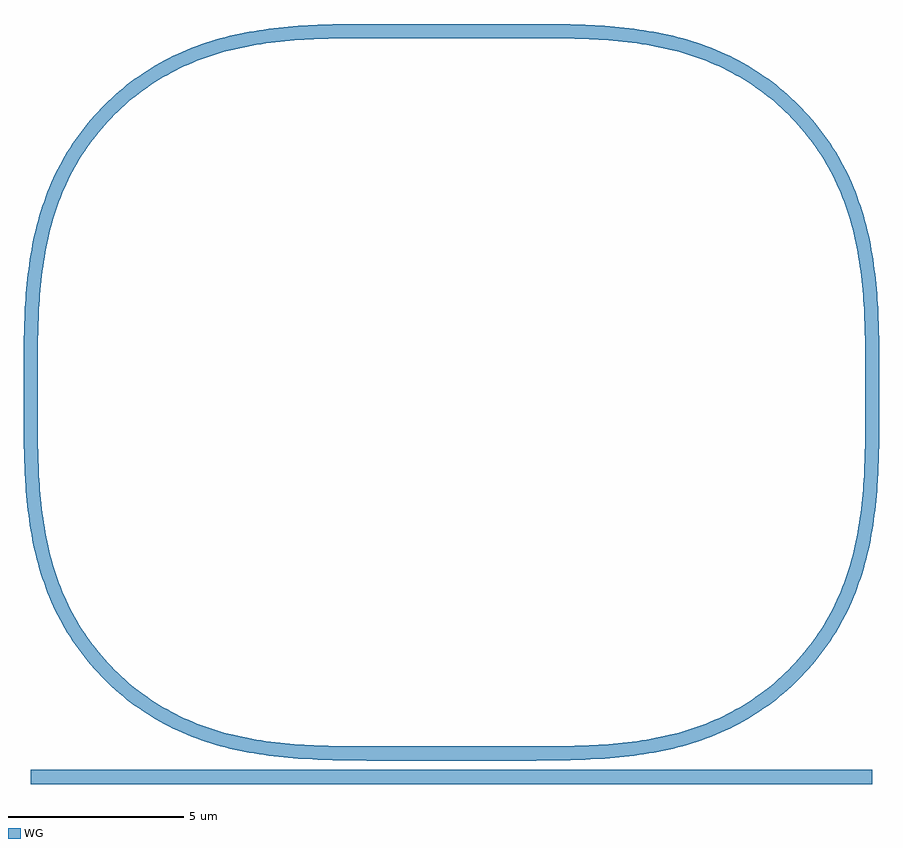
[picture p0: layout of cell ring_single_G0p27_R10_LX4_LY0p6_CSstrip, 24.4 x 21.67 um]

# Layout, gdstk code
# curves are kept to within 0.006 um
from math import pi, radians
import gdstk
lib = gdstk.Library(unit=1e-6, precision=1e-09)
def R(c, l, rs):  # rectangles x0, y0, x1, y1
    for r in rs: c.add(gdstk.rectangle(r[:2], r[2:], *l))
def P(c, l, *ps):  # polygons
    for p in ps: c.add(gdstk.Polygon(p, *l))
WG = (3, 0)

coupler_ring_lx4_g0p27_r = lib.new_cell('coupler_ring_LX4_G0p27_R10_Bbend_euler_Sstraight_CSstrip_LE10')
R(coupler_ring_lx4_g0p27_r, WG, [(-14,-0.2,10,0.2)])
P(coupler_ring_lx4_g0p27_r, WG, [(-4.416,0.47),(-5.252,0.478),(-5.81,0.495),(-6.37,0.526),(-6.93,0.576),(-7.488,0.649),(-7.906,0.722),(-8.458,0.846),(-8.868,0.962),(-9.272,1.099),(-9.798,1.317),(-10.181,1.508),(-10.552,1.72),(-10.91,1.955),(-11.254,2.209),(-11.582,2.484),(-11.993,2.879),(-12.28,3.196),(-12.548,3.529),(-12.796,3.877),(-13.023,4.24),(-13.228,4.615),(-13.411,5.002),(-13.571,5.398),(-13.749,5.938),(-13.858,6.349),(-13.974,6.903),(-14.041,7.321),(-14.108,7.88),(-14.153,8.44),(-14.185,9.139),(-14.198,9.836),(-14.2,10.67),(-13.8,10.67),(-13.798,9.84),(-13.781,9.014),(-13.745,8.328),(-13.696,7.784),(-13.604,7.108),(-13.528,6.708),(-13.402,6.18),(-13.285,5.792),(-13.148,5.411),(-12.989,5.039),(-12.809,4.677),(-12.608,4.327),(-12.387,3.988),(-12.147,3.664),(-11.887,3.354),(-11.61,3.06),(-11.214,2.694),(-10.9,2.441),(-10.57,2.207),(-10.228,1.992),(-9.873,1.798),(-9.508,1.626),(-9.133,1.474),(-8.749,1.344),(-8.227,1.201),(-7.829,1.115),(-7.427,1.045),(-6.886,0.974),(-6.342,0.925),(-5.656,0.889),(-4.415,0.87),(0.415,0.87),(1.244,0.878),(2.205,0.916),(3.022,0.989),(3.562,1.066),(4.095,1.17),(4.49,1.268),(4.878,1.385),(5.259,1.522),(5.753,1.738),(6.228,1.992),(6.57,2.207),(6.9,2.441),(7.316,2.783),(7.61,3.06),(7.976,3.456),(8.229,3.77),(8.537,4.212),(8.809,4.677),(8.932,4.917),(9.044,5.162),(9.241,5.664),(9.402,6.18),(9.5,6.575),(9.555,6.841),(9.664,7.513),(9.735,8.192),(9.781,9.014),(9.798,9.84),(9.8,10.67),(10.2,10.67),(10.198,9.836),(10.175,8.86),(10.144,8.3),(10.078,7.6),(9.998,7.042),(9.89,6.487),(9.749,5.938),(9.571,5.398),(9.353,4.872),(9.094,4.364),(8.796,3.877),(8.461,3.416),(8.186,3.088),(7.791,2.677),(7.365,2.299),(7.141,2.122),(6.91,1.955),(6.552,1.72),(6.055,1.442),(5.668,1.259),(5.272,1.099),(4.868,0.962),(4.321,0.812),(3.767,0.696),(3.209,0.61),(2.93,0.576),(2.37,0.526),(1.95,0.501),(1.252,0.478),(0.416,0.47)])

bend_euler_r10_a90_p0p5_ = lib.new_cell('bend_euler_R10_A90_P0p5_WNone_CSstrip_AMRVFalse')
P(bend_euler_r10_a90_p0p5_, WG, [(0,-0.2),(0,0.2),(0.83,0.202),(1.656,0.219),(2.342,0.255),(2.886,0.304),(3.562,0.396),(3.962,0.472),(4.49,0.598),(4.878,0.715),(5.259,0.852),(5.631,1.011),(5.993,1.191),(6.343,1.392),(6.682,1.613),(7.006,1.853),(7.316,2.113),(7.61,2.39),(7.887,2.684),(8.147,2.994),(8.387,3.318),(8.608,3.657),(8.809,4.007),(8.989,4.369),(9.148,4.741),(9.285,5.122),(9.402,5.51),(9.528,6.038),(9.604,6.438),(9.696,7.114),(9.745,7.658),(9.781,8.344),(9.798,9.17),(9.8,10),(10.2,10),(10.198,9.166),(10.185,8.469),(10.153,7.77),(10.108,7.21),(10.041,6.651),(9.974,6.233),(9.858,5.679),(9.749,5.268),(9.571,4.728),(9.411,4.332),(9.228,3.945),(9.023,3.57),(8.796,3.207),(8.461,2.746),(8.186,2.418),(7.893,2.107),(7.582,1.814),(7.254,1.539),(6.793,1.204),(6.43,0.977),(6.055,0.772),(5.668,0.589),(5.272,0.429),(4.732,0.251),(4.321,0.142),(3.767,0.026),(3.349,-0.041),(2.79,-0.108),(2.23,-0.153),(1.531,-0.185),(0.834,-0.198)])

straight_l4_csstrip_wnon = lib.new_cell('straight_L4_CSstrip_WNone_N2')
R(straight_l4_csstrip_wnon, WG, [(0,-0.2,4,0.2)])

straight_l0p6_csstrip_wn = lib.new_cell('straight_L0p6_CSstrip_WNone_N2')
R(straight_l0p6_csstrip_wn, WG, [(0,-0.2,0.6,0.2)])

ring_single_g0p27_r10_lx = lib.new_cell('ring_single_G0p27_R10_LX4_LY0p6_CSstrip')
ring_single_g0p27_r10_lx.add(gdstk.Reference(coupler_ring_lx4_g0p27_r, (0,0)))
ring_single_g0p27_r10_lx.add(gdstk.Reference(bend_euler_r10_a90_p0p5_, (-4,21.27), rotation=pi))
ring_single_g0p27_r10_lx.add(gdstk.Reference(bend_euler_r10_a90_p0p5_, (10,11.27), rotation=pi/2))
ring_single_g0p27_r10_lx.add(gdstk.Reference(straight_l4_csstrip_wnon, (0,21.27), rotation=pi))
ring_single_g0p27_r10_lx.add(gdstk.Reference(straight_l0p6_csstrip_wn, (-14,10.67), rotation=pi/2))
ring_single_g0p27_r10_lx.add(gdstk.Reference(straight_l0p6_csstrip_wn, (10,11.27), rotation=3*pi/2))

lib.write_gds('ring_single_G0p27_R10_LX4_LY0p6_CSstrip.gds')
